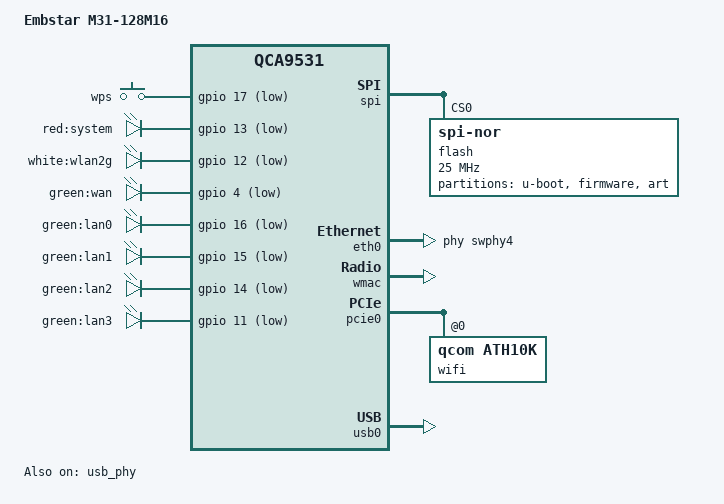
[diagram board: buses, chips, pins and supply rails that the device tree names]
// SPDX-License-Identifier: GPL-2.0-or-later OR MIT

#include "qca953x.dtsi"

#include <dt-bindings/gpio/gpio.h>
#include <dt-bindings/input/input.h>

/ {
	model = "Embstar M31-128M16";
	compatible = "embstar,m31", "embstar,qca9531", "qca,qca9531";

	aliases {
		serial0 = &uart;
		led-boot = &led_system;
		led-failsafe = &led_system;
		led-running = &led_system;
		led-upgrade = &led_system;
		label-mac-device = &eth0;
	};

	keys {
		compatible = "gpio-keys";

		wps {
			label = "wps";
			linux,code = <KEY_WPS_BUTTON>;
			gpios = <&gpio 17 GPIO_ACTIVE_LOW>;
			debounce-interval = <60>;
		};
	};

	leds {
		compatible = "gpio-leds";

		led_system: system {
			label = "red:system";
			gpios = <&gpio 13 GPIO_ACTIVE_LOW>;
			default-state = "on";
		};

		wlan2g {
			label = "white:wlan2g";
			gpios = <&gpio 12 GPIO_ACTIVE_LOW>;
			linux,default-trigger = "phy1tpt";
		};

		wan {
			label = "green:wan";
			gpios = <&gpio 4 GPIO_ACTIVE_LOW>;
		};

		lan0 {
			label = "green:lan0";
			gpios = <&gpio 16 GPIO_ACTIVE_LOW>;
		};

		lan1 {
			label = "green:lan1";
			gpios = <&gpio 15 GPIO_ACTIVE_LOW>;
		};

		lan2 {
			label = "green:lan2";
			gpios = <&gpio 14 GPIO_ACTIVE_LOW>;
		};

		lan3 {
			label = "green:lan3";
			gpios = <&gpio 11 GPIO_ACTIVE_LOW>;
		};
	};
};

&spi {
	status = "okay";

	flash@0 {
		compatible = "jedec,spi-nor";
		reg = <0>;
		spi-max-frequency = <25000000>;

		partitions {
			compatible = "fixed-partitions";
			#address-cells = <1>;
			#size-cells = <1>;

			partition@0 {
				label = "u-boot";
				reg = <0x000000 0x020000>;
				read-only;
			};

			partition@20000 {
				compatible = "tplink,firmware";
				label = "firmware";
				reg = <0x020000 0xfd0000>;
			};

			art: partition@ff0000 {
				label = "art";
				reg = <0xff0000 0x010000>;
				read-only;

				nvmem-layout {
					compatible = "fixed-layout";
					#address-cells = <1>;
					#size-cells = <1>;

					macaddr_art_0: macaddr@0 {
						compatible = "mac-base";
						reg = <0x0000 0x6>;
						#nvmem-cell-cells = <1>;
					};

					macaddr_art_6: macaddr@6 {
						reg = <0x0006 0x6>;
					};

					cal_art_1000: calibration@1000 {
						reg = <0x1000 0x440>;
					};

					cal_art_5000: calibration@5000 {
						reg = <0x5000 0x844>;
					};
				};
			};
		};
	};
};

&eth0 {
	status = "okay";
	phy-handle = <&swphy4>;

	nvmem-cells = <&macaddr_art_0 0>;
	nvmem-cell-names = "mac-address";
};

&eth1 {
	nvmem-cells = <&macaddr_art_6>;
	nvmem-cell-names = "mac-address";
};

&wmac {
	status = "okay";

	nvmem-cells = <&cal_art_1000>;
	nvmem-cell-names = "calibration";
};

&pcie0 {
	status = "okay";

	wifi@0,0 {
		compatible = "qcom,ath10k";
		reg = <0 0 0 0 0>;

		nvmem-cells = <&cal_art_5000>, <&macaddr_art_0 2>;
		nvmem-cell-names = "calibration", "mac-address";
	};
};

&usb_phy {
	status = "okay";
};

&usb0 {
	status = "okay";
};
